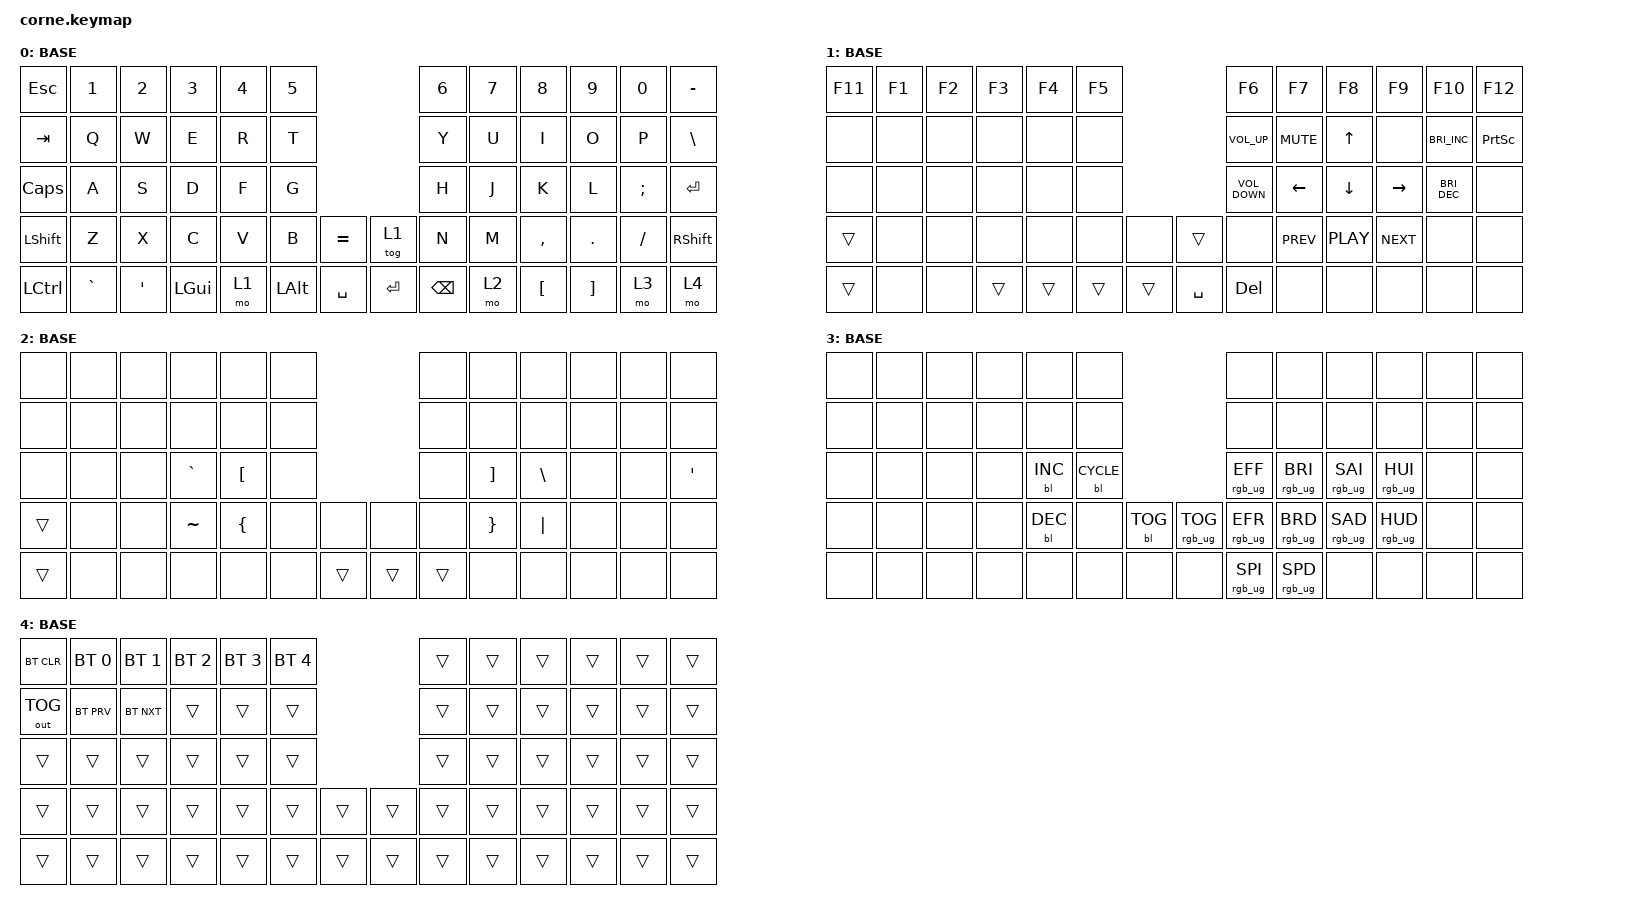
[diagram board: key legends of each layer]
/*
 * Copyright (c) 2020 The ZMK Contributors
 *
 * SPDX-License-Identifier: MIT
 */
#define ZMK_BEHAVIORS_OMIT_KT
#include <behaviors.dtsi>
#include <dt-bindings/zmk/keys.h>
#include <dt-bindings/zmk/bt.h>

/ {
        keymap {
        compatible = "zmk,keymap";

        default_layer {
            display-name = "BASE";
            bindings = <
&kp ESCAPE        &kp NUMBER_1  &kp N2   &kp N3    &kp N4  &kp N5                                &kp N6         &kp N7  &kp N8            &kp N9             &kp N0     &kp MINUS
&kp TAB           &kp Q         &kp W    &kp E     &kp R   &kp T                                 &kp Y          &kp U   &kp I             &kp O              &kp P      &kp BACKSLASH
&kp CAPSLOCK      &kp A         &kp S    &kp D     &kp F   &kp G                                 &kp H          &kp J   &kp K             &kp L              &kp SEMI   &kp ENTER
&kp LSHFT         &kp Z         &kp X    &kp C     &kp V   &kp B         &kp EQUAL    &tog 1     &kp N          &kp M   &kp COMMA         &kp PERIOD         &kp SLASH  &kp RIGHT_SHIFT
&kp LEFT_CONTROL  &kp GRAVE     &kp SQT  &kp LGUI  &mo 1   &kp LEFT_ALT  &kp SPACE    &kp ENTER  &kp BACKSPACE  &mo 2   &kp LEFT_BRACKET  &kp RIGHT_BRACKET  &mo 3      &mo 4
            >;
        };

        Audio_And_Function {
            display-name = "BASE";
            bindings = <
&kp F11  &kp F1  &kp F2  &kp F3  &kp F4  &kp F5                       &kp F6             &kp F7      &kp F8      &kp F9      &kp F10               &kp F12
&none    &none   &none   &none   &none   &none                        &kp C_VOLUME_UP    &kp K_MUTE  &kp UP      &none       &kp C_BRIGHTNESS_INC  &kp PRINTSCREEN
&none    &none   &none   &none   &none   &none                        &kp C_VOLUME_DOWN  &kp LEFT    &kp DOWN    &kp RIGHT   &kp C_BRIGHTNESS_DEC  &none
&trans   &none   &none   &none   &none   &none   &none     &trans     &none              &kp C_PREV  &kp C_PLAY  &kp C_NEXT  &none                 &none
&trans   &none   &none   &trans  &trans  &trans  &trans    &kp SPACE  &kp DEL            &none       &none       &none       &none                 &none
            >;
        };

        Missing {
            display-name = "BASE";
            bindings = <
&none   &none  &none  &none      &none           &none                    &none   &none            &none     &none  &none  &none
&none   &none  &none  &none      &none           &none                    &none   &none            &none     &none  &none  &none
&none   &none  &none  &kp GRAVE  &kp LBKT        &none                    &none   &kp RBKT         &kp BSLH  &none  &none  &kp SQT
&trans  &none  &none  &kp TILDE  &kp LEFT_BRACE  &none  &none     &none   &none   &kp RIGHT_BRACE  &kp PIPE  &none  &none  &none
&trans  &none  &none  &none      &none           &none  &trans    &trans  &trans  &none            &none     &none  &none  &none
            >;
        };

        layer_3 {
            display-name = "BASE";
            bindings = <
&none  &none  &none  &none  &none       &none                                        &none            &none            &none            &none            &none  &none
&none  &none  &none  &none  &none       &none                                        &none            &none            &none            &none            &none  &none
&none  &none  &none  &none  &bl BL_INC  &bl BL_CYCLE                                 &rgb_ug RGB_EFF  &rgb_ug RGB_BRI  &rgb_ug RGB_SAI  &rgb_ug RGB_HUI  &none  &none
&none  &none  &none  &none  &bl BL_DEC  &none         &bl BL_TOG    &rgb_ug RGB_TOG  &rgb_ug RGB_EFR  &rgb_ug RGB_BRD  &rgb_ug RGB_SAD  &rgb_ug RGB_HUD  &none  &none
&none  &none  &none  &none  &none       &none         &none         &none            &rgb_ug RGB_SPI  &rgb_ug RGB_SPD  &none            &none            &none  &none
            >;
        };

        Bluetooth {
            display-name = "BASE";
            bindings = <
&bt BT_CLR    &bt BT_SEL 0  &bt BT_SEL 1  &bt BT_SEL 2  &bt BT_SEL 3  &bt BT_SEL 4                    &trans  &trans  &trans  &trans  &trans  &trans
&out OUT_TOG  &bt BT_PRV    &bt BT_NXT    &trans        &trans        &trans                          &trans  &trans  &trans  &trans  &trans  &trans
&trans        &trans        &trans        &trans        &trans        &trans                          &trans  &trans  &trans  &trans  &trans  &trans
&trans        &trans        &trans        &trans        &trans        &trans        &trans    &trans  &trans  &trans  &trans  &trans  &trans  &trans
&trans        &trans        &trans        &trans        &trans        &trans        &trans    &trans  &trans  &trans  &trans  &trans  &trans  &trans
            >;
        };

    };
};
